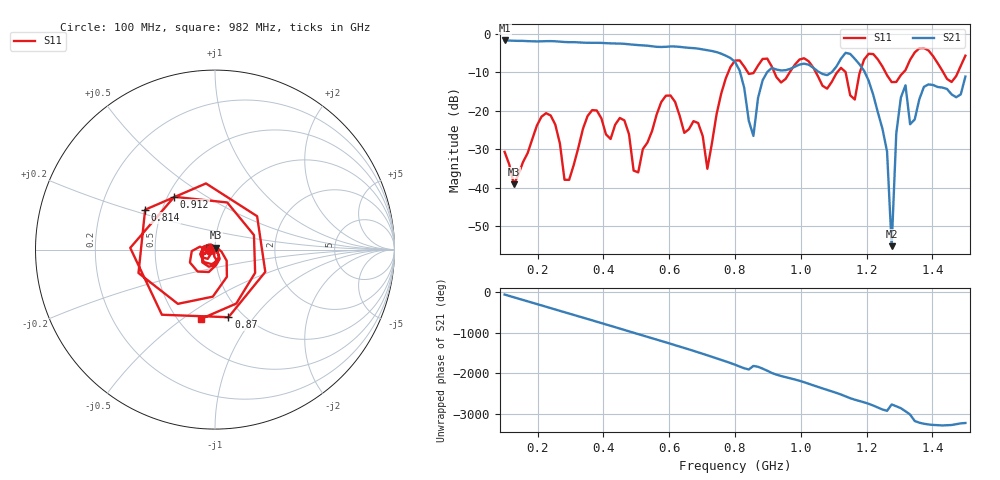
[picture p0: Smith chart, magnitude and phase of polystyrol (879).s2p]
! NanoVNA-App
! Date: 2025-09-25 15:36:43
! Start: 100MHz Stop: 1,5GHz Points: 101
! S-Parameter data: F S11 S21 S12 S22
# Hz S RI R 50
!  Frequency  S11_Real  S11_Imag  S21_Real  S21_Imag  S12_Real  S12_Imag  S22_Real  S22_Imag
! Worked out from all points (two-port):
!   101 points, 100 MHz to 1.5 GHz, reference 50 ohm
!   highest |S21| = -1.80 dB at 100 MHz (marker M1); lowest = -55.2 dB at 1.276 GHz (marker M2)
!   |S21| within 3 dB of the highest: start of sweep to 743 MHz
!   lowest |S11| = -39.1 dB at 128 MHz (marker M3), VSWR 1.02, Z = 50.3 + j1.06 ohm
!   |S11| at or under -10 dB: start of sweep to 779.8 MHz; 1.045 GHz to 1.111 GHz (66.13 MHz wide, 6.13 % of centre); 1.257 GHz to 1.312 GHz (55.65 MHz wide, 4.33 % of centre) (the widest 3 of 7)
!   S12 and S22 are empty: the file has one direction only
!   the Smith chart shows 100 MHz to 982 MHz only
!   S11 on the Smith chart (normalised r, x): 100 MHz: 0.94, -0.01; 814 MHz: 0.40, +0.22; 870 MHz: 0.85, -0.76; 912 MHz: 0.54, +0.37; 982 MHz: 0.64, -0.59
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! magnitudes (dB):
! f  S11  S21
! 100 MHz  -30.7  -1.8
! 128 MHz  -39.1  -1.9
! 212 MHz  -21.6  -2.0
! 282 MHz  -37.9  -2.2
! 338 MHz  -24.7  -2.4
! 506 MHz  -36.0  -3.0
! 576 MHz  -17.8  -3.5
! 716 MHz  -35.1  -4.3
! 800 MHz  -7.0  -7.3
! 814 MHz  -7.0  -9.6
! 856 MHz  -10.3  -26.6
! 870 MHz  -8.3  -16.7
! 912 MHz  -8.6  -8.9
! 982 MHz  -8.1  -8.6
! 1.038 GHz  -8.9  -8.9
! 1.164 GHz  -17.1  -6.6
! 1.206 GHz  -5.3  -12.2
! 1.262 GHz  -10.8  -30.6
! 1.276 GHz  -12.6  -55.2
! 1.29 GHz  -12.6  -25.9
! 1.318 GHz  -9.5  -13.4
! 1.5 GHz  -5.8  -11.2
